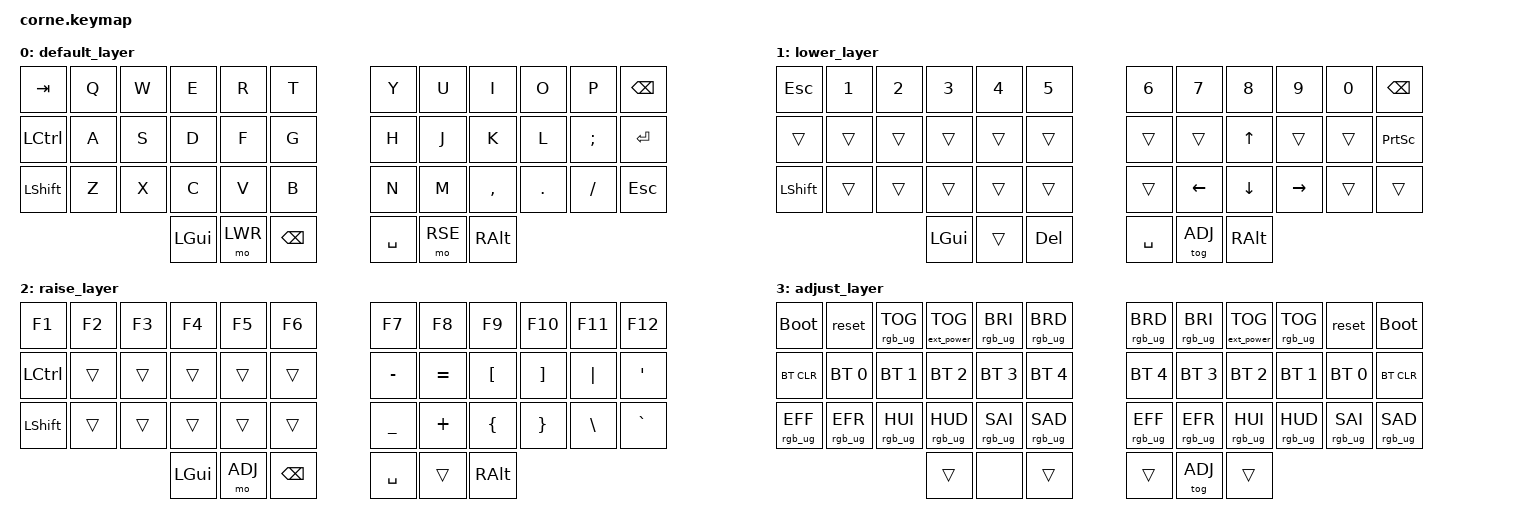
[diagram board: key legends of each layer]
/*
 * Copyright (c) 2020 The ZMK Contributors
 *
 * SPDX-License-Identifier: MIT
 */

#include <behaviors.dtsi>
#include <dt-bindings/zmk/keys.h>
#include <dt-bindings/zmk/bt.h>
#include <dt-bindings/zmk/rgb.h>
#include <dt-bindings/zmk/ext_power.h>

#define DEF 0
#define LWR 1
#define RSE 2
#define ADJ 3

&mt { quick_tap_ms = <300>; };

/ {
        keymap {
                compatible = "zmk,keymap";

                default_layer {
// -----------------------------------------------------------------------------------------
// |  TAB |  Q  |  W  |  E  |  R  |  T   |   |  Y  |  U   |  I  |  O  |  P  | BKSP |
// | CTRL |  A  |  S  |  D  |  F  |  G   |   |  H  |  J   |  K  |  L  |  ;  | ENT  |
// | SHFT |  Z  |  X  |  C  |  V  |  B   |   |  N  |  M   |  ,  |  .  |  /  | ESC  |
//                    | GUI | LWR | BKSP |   | SPC | RSE  | ALT |
                        bindings = <
   &kp TAB    &kp Q  &kp W  &kp E     &kp R    &kp T        &kp Y      &kp U    &kp I      &kp O   &kp  P     &kp BSPC
   &kp LCTRL  &kp A  &kp S  &kp D     &kp F    &kp G        &kp H      &kp J    &kp K      &kp L   &kp  SEMI  &kp RET
   &kp LSHFT  &kp Z  &kp X  &kp C     &kp V    &kp B        &kp N      &kp M    &kp COMMA  &kp DOT &kp  FSLH  &kp ESC
                            &kp LGUI  &mo LWR  &kp BSPC     &kp SPACE  &mo RSE  &kp RALT
                        >;
                };
                lower_layer {
// -----------------------------------------------------------------------------------------
// |  ESC |  1  |  2  |  3  |  4  |  5  |   |  6  |  7  |  8  |  9  |  0  | BKSP |
// | CTRL |     |     |     |     |     |   |     |     |  UP |     |     |      |
// | SHFT |     |     |     |     |     |   |     | LFT | DWN | RGT |     |      |
//                    | GUI |     | DEL |   | SPC |     | ALT |
                        bindings = <
   &kp ESC    &kp N1  &kp N2  &kp N3   &kp N4  &kp N5      &kp N6     &kp N7    &kp N8    &kp N9     &kp N0  &kp BSPC
   &trans     &trans  &trans  &trans   &trans  &trans      &trans     &trans    &kp UP    &trans     &trans  &kp PRINTSCREEN
   &kp LSHFT  &trans  &trans  &trans   &trans  &trans      &trans     &kp LEFT  &kp DOWN  &kp RIGHT  &trans  &trans
                              &kp LGUI &trans  &kp DEL     &kp SPACE  &tog ADJ  &kp RALT
                        >;
                };

                raise_layer {
// -----------------------------------------------------------------------------------------
// |  F1  | F2  | F3  | F4  | F5  |  F6  |   |   F7  | F8  | F9  | F10 | F11 | F12 |
// | CTRL |     |     |     |     |      |   |   -   |  =  |  {  |  }  | "|" |  '  |
// | SHFT |     |     |     |     |      |   |   _   |  +  |  [  |  ]  |  \  |  ~  | // TODO: Fix this row when &mkp is committed
//                    | GUI |     | BKSP |   | SPACE | ADJ | ALT |
                        bindings = <
   &kp F1     &kp F2  &kp F3  &kp F4    &kp F5   &kp F6       &kp F7     &kp F8     &kp F9    &kp F10   &kp F11   &kp F12
   &kp LCTRL  &trans  &trans  &trans    &trans   &trans       &kp MINUS  &kp EQUAL  &kp LBKT  &kp RBKT  &kp PIPE  &kp SQT
   &kp LSHFT  &trans  &trans  &trans    &trans   &trans       &kp UNDER  &kp PLUS   &kp LBRC  &kp RBRC  &kp BSLH  &kp GRAVE
                              &kp LGUI  &mo ADJ  &kp BSPC     &kp SPACE  &trans     &kp RALT
                        >;
                };
                adjust_layer {
// -----------------------------------------------------------------------------------------
// | BLDR | RST | RGBTOG| EPTOG| VAL+| VAL-|   | VAL-| VAL+| EPTOG| RGBTOG| RST | BLDR |
// | BTCLR| BT0 | BT1   | BT2  | BT3 | BT4 |   | BT4 | BT3 | BT2  | BT1   | BT0 | BTCLR|
// | MOD+ | MOD-| HUE+  | HUE- | SAT+| SAT-|   | MOD+| MOD-| HUE+ | HUE-  | SAT+| SAT-|
//                      |      |     |     |   |     |     |      |
                bindings = <
   &bootloader      &reset           &rgb_ug RGB_TOG  &ext_power EP_TOG  &rgb_ug RGB_BRI  &rgb_ug RGB_BRD      &rgb_ug RGB_BRD  &rgb_ug RGB_BRI  &ext_power EP_TOG  &rgb_ug RGB_TOG  &reset           &bootloader
   &bt BT_CLR       &bt BT_SEL 0     &bt BT_SEL 1     &bt BT_SEL 2       &bt BT_SEL 3     &bt BT_SEL 4         &bt BT_SEL 4     &bt BT_SEL 3     &bt BT_SEL 2       &bt BT_SEL 1     &bt BT_SEL 0     &bt BT_CLR
   &rgb_ug RGB_EFF  &rgb_ug RGB_EFR  &rgb_ug RGB_HUI  &rgb_ug RGB_HUD    &rgb_ug RGB_SAI  &rgb_ug RGB_SAD      &rgb_ug RGB_EFF  &rgb_ug RGB_EFR  &rgb_ug RGB_HUI    &rgb_ug RGB_HUD  &rgb_ug RGB_SAI  &rgb_ug RGB_SAD
                                                      &trans             &none            &trans               &trans           &tog ADJ         &trans
                        >;
                };
        };
};
